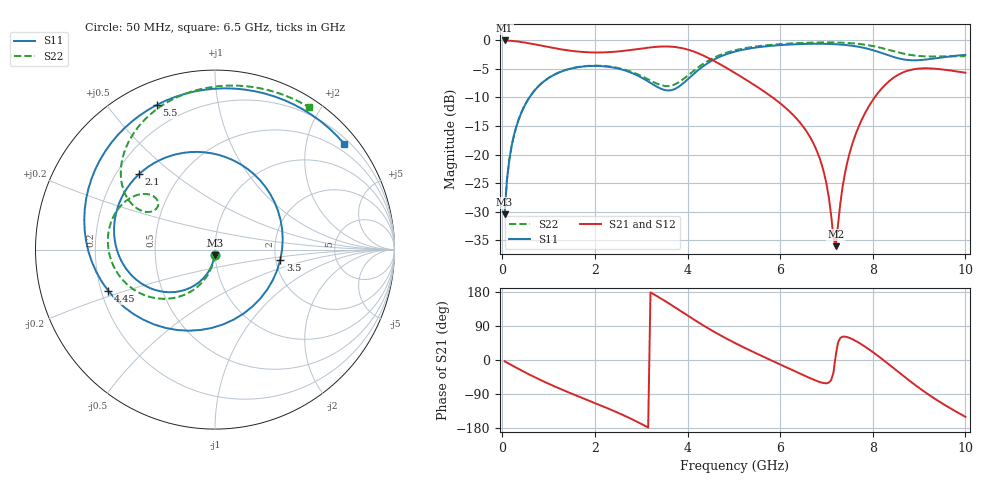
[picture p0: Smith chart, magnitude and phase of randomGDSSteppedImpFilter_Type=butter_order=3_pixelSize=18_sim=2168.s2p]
! freq	dB(S11)	phase(S11)	dB(S12)	phase(S12)
!  dB(S21)	phase(S21)	dB(S22)	phase(S22)
!S-par simulation data
#  GHz  S  DB  R 50
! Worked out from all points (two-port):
!   200 points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, 50 MHz to 10 GHz, reference 50 ohm
!   highest |S21| = -0.01 dB at 50 MHz (marker M1); lowest = -36.0 dB at 7.2 GHz (marker M2)
!   |S21| within 3 dB of the highest: start of sweep to 4.433 GHz
!   lowest |S11| = -30.5 dB at 50 MHz (marker M3), VSWR 1.06, Z = 49.7 - j2.98 ohm
!   |S11| at or under -10 dB: start of sweep to 585.2 MHz
!   |S22| runs from -30.5 to -0.4 dB; largest |S21 - S12| = 0
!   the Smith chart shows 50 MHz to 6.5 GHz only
!   S11 on the Smith chart (normalised r, x): 50 MHz: 0.99, -0.06; 2.1 GHz: 0.29, +0.38; 3.5 GHz: 2.12, -0.28; 4.45 GHz: 0.23, -0.18; 5.5 GHz: 0.10, +0.67; 6.5 GHz: 0.32, +2.78
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0.05  -30.46 -93.8  -0.01 -3.4  -0.01 -3.4  -30.46 -93.3
0.2  -18.56 -105.0  -0.08 -13.5  -0.08 -13.5  -18.56 -102.9
0.5  -11.15 -126.3  -0.39 -33.1  -0.39 -33.1  -11.14 -120.8
1.75  -4.57 156.6  -2.03 -101.4  -2.03 -101.4  -4.53 180.0
2.1  -4.49 135.2  -2.11 -118.7  -2.11 -118.7  -4.43 166.9
2.8  -5.71 83.1  -1.65 -156.2  -1.65 -156.2  -5.54 144.8
3.4  -8.37 8.6  -1.09 164.2  -1.09 164.2  -7.76 140.6
3.5  -8.68 -9.0  -1.06 156.7  -1.06 156.7  -7.97 142.8
4  -6.84 -100.1  -1.60 117.6  -1.60 117.6  -6.19 152.2
4.45  -3.92 -158.7  -3.08 83.3  -3.08 83.3  -3.55 142.1
5.05  -1.90 146.1  -5.83 43.3  -5.83 43.3  -1.68 118.2
5.5  -1.22 111.9  -8.12 16.6  -8.12 16.6  -1.04 99.3
6.5  -0.63 39.2  -15.14 -39.9  -15.14 -39.9  -0.44 56.4
6.7  -0.60 23.6  -17.74 -50.7  -17.74 -50.7  -0.39 47.4
7.2  -0.67 -19.1  -36.05 11.7  -36.05 11.7  -0.37 23.8
7.45  -0.83 -43.5  -21.35 60.5  -21.35 60.5  -0.44 11.3
7.85  -1.38 -88.8  -12.49 33.8  -12.49 33.8  -0.77 -9.4
8.35  -2.64 -160.3  -7.17 -11.8  -7.17 -11.8  -1.66 -34.4
8.65  -3.31 150.6  -5.62 -41.0  -5.62 -41.0  -2.29 -47.4
9.05  -3.43 88.6  -4.90 -78.1  -4.90 -78.1  -2.76 -63.2
9.5  -2.96 34.3  -5.08 -114.6  -5.08 -114.6  -2.81 -83.1
10  -2.53 -9.5  -5.66 -150.0  -5.66 -150.0  -2.76 -109.6
